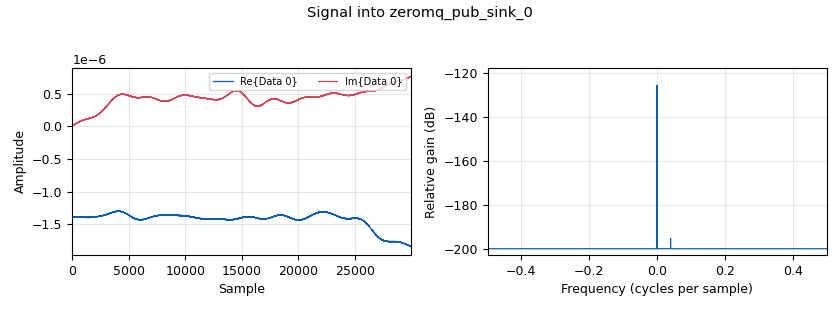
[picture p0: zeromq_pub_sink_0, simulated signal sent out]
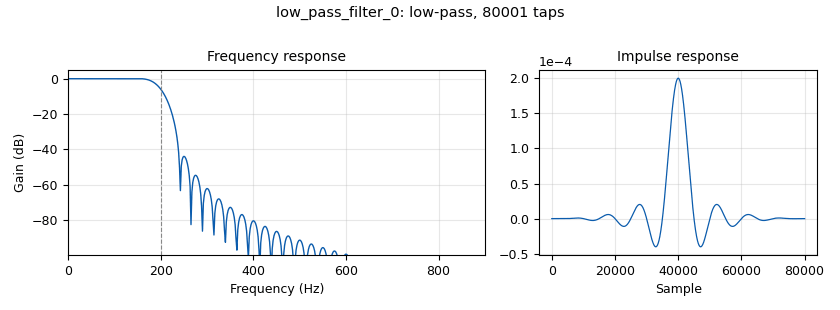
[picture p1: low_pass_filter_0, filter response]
options:
  parameters:
    generate_options: qt_gui
    id: stream_management1
    output_language: python
    title: Not titled yet
  states: {}

blocks:
- name: samp_rate
  id: variable
  parameters:
    value: 2e6
  states: {}
- name: analog_sig_source_x_0
  id: analog_sig_source_x
  parameters:
    amp: '1'
    freq: '915'
    offset: '0'
    phase: '0'
    samp_rate: '2'
    type: complex
    waveform: analog.GR_COS_WAVE
  states: {}
- name: blocks_throttle_0
  id: blocks_throttle
  parameters:
    samples_per_second: samp_rate
    type: complex
  states: {}
- name: channels_channel_model_0
  id: channels_channel_model
  parameters:
    epsilon: '1.0'
    freq_offset: '0.01'
    noise_voltage: '0.05'
    seed: '0'
    taps: 1.0 + 1.0j
  states: {}
- name: dc_blocker_xx_0
  id: dc_blocker_xx
  parameters:
    length: '32'
    long_form: 'True'
    type: cc
  states: {}
- name: low_pass_filter_0
  id: low_pass_filter
  parameters:
    cutoff_freq: '200'
    decim: '4'
    gain: '1'
    samp_rate: samp_rate
    type: fir_filter_ccf
    width: '50'
    win: window.WIN_HANN
  states: {}
- name: zeromq_pub_sink_0
  id: zeromq_pub_sink
  parameters:
    address: tcp://127.0.0.1:5555
    timeout: '100'
    type: complex
  states: {}

connections:
- [analog_sig_source_x_0, '0', blocks_throttle_0, '0']
- [blocks_throttle_0, '0', channels_channel_model_0, '0']
- [channels_channel_model_0, '0', dc_blocker_xx_0, '0']
- [dc_blocker_xx_0, '0', low_pass_filter_0, '0']
- [low_pass_filter_0, '0', zeromq_pub_sink_0, '0']

metadata:
  file_format: 1
